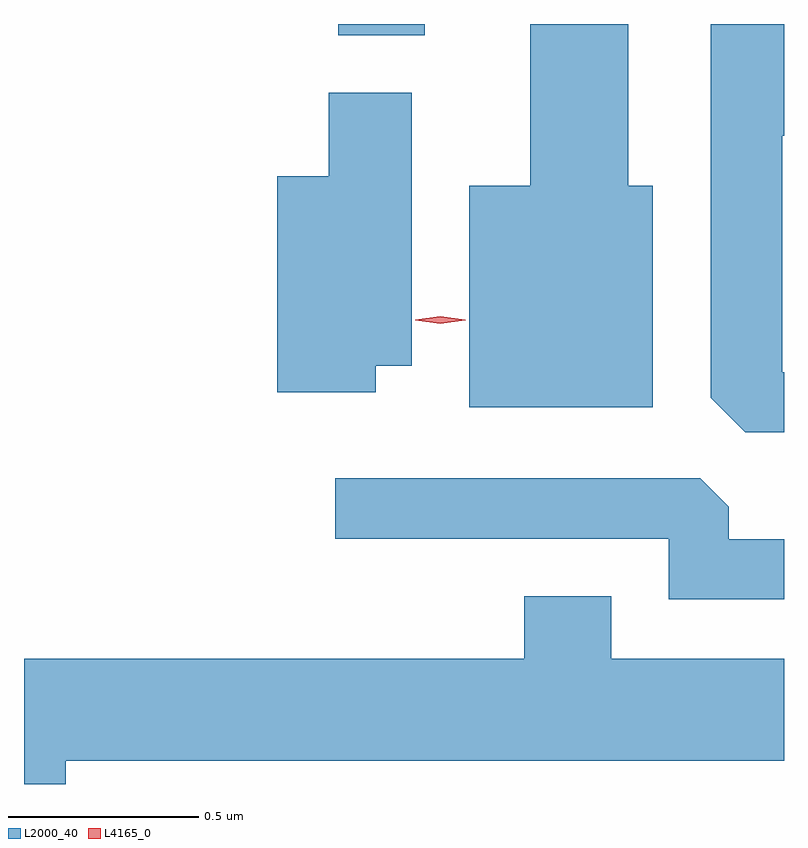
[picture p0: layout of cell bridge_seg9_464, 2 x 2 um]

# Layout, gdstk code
import gdstk
lib = gdstk.Library(unit=1e-6, precision=1e-09)
def R(c, l, rs):  # rectangles x0, y0, x1, y1
    for r in rs: c.add(gdstk.rectangle(r[:2], r[2:], *l))
def P(c, l, *ps):  # polygons
    for p in ps: c.add(gdstk.Polygon(p, *l))
L2000_40 = (2000, 40)
L4165_0 = (4165, 0)

bridge_seg9_464 = lib.new_cell('bridge_seg9_464')
R(bridge_seg9_464, L2000_40, [(276.001,2042.566,276.229,2042.595)])
P(bridge_seg9_464, L2000_40, [(277.174,2041.679),(277.169,2041.679),(277.169,2042.301),(277.174,2042.301),(277.174,2042.595),(276.981,2042.595),(276.981,2041.612),(277.072,2041.521),(277.174,2041.521)],
  [(276.829,2042.169),(276.764,2042.169),(276.764,2042.595),(276.506,2042.595),(276.506,2042.169),(276.346,2042.169),(276.346,2041.586),(276.829,2041.586)],
  [(276.099,2041.696),(276.194,2041.696),(276.194,2042.414),(275.976,2042.414),(275.976,2042.194),(275.841,2042.194),(275.841,2041.626),(276.099,2041.626)],
  [(277.174,2041.239),(277.029,2041.239),(277.029,2041.324),(276.954,2041.399),(275.993,2041.399),(275.993,2041.241),(276.871,2041.241),(276.871,2041.081),(277.174,2041.081)],
  [(275.284,2040.656),(277.174,2040.656),(277.174,2040.924),(276.719,2040.924),(276.719,2041.089),(276.491,2041.089),(276.491,2040.924),(275.174,2040.924),(275.174,2040.595),(275.284,2040.595)])
P(bridge_seg9_464, L4165_0, [(276.269,2041.806),(276.203,2041.816),(276.203,2041.816),(276.203,2041.817),(276.269,2041.826),(276.335,2041.817),(276.336,2041.816),(276.335,2041.816)])

lib.write_gds('bridge_seg9_464.gds')
